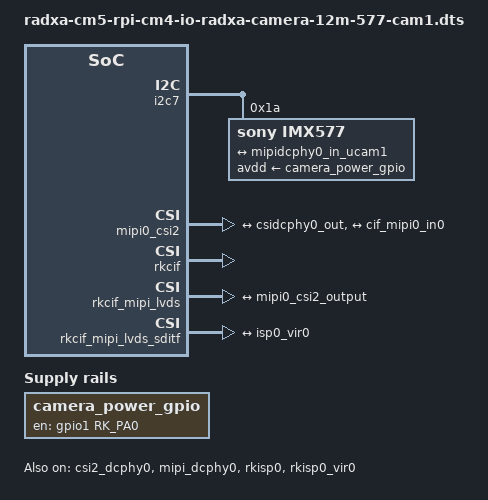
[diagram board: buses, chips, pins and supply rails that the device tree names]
/dts-v1/;
/plugin/;

#include <dt-bindings/power/rk3588-power.h>
#include <dt-bindings/gpio/gpio.h>
#include <dt-bindings/pinctrl/rockchip.h>

/ {
	metadata {
		title = "Enable Radxa Camera 12M 577 on CAM1";
		compatible = "radxa,cm5-rpi-cm4-io";
		category = "camera";
		exclusive = "GPIO1_A0", "csi2_dcphy0", "i2c7";
		description = "Enable Radxa Camera 12M 577 on CAM1.";
	};
};

&{/} {
	camera_power_gpio: camera-power-gpio {
		compatible = "regulator-fixed";
		regulator-name = "camera_power_gpio";
		startup-delay-us = <250000>;
		off-on-delay-us = <20000>;
		enable-active-high;
		gpio = <&gpio1 RK_PA0 GPIO_ACTIVE_HIGH>;
		pinctrl-names = "default";
		pinctrl-0 = <&cam_power_gpio>;
	};
};

&i2c7 {
	status = "okay";
	pinctrl-0 = <&i2c7m2_xfer>;
	#address-cells = <1>;
	#size-cells = <0>;

	imx577: imx577@1a {
		status = "okay";
		compatible = "sony,imx577";
		reg = <0x1a>;
		power-domains = <&power RK3588_PD_VI>;
		avdd-supply = <&camera_power_gpio>;
		rockchip,camera-module-index = <1>;
		rockchip,camera-module-facing = "back";
		rockchip,camera-module-name = "RADXA-CAMERA-12M";
		rockchip,camera-module-lens-name = "default";
		port {
			imx577_out1: endpoint {
				remote-endpoint = <&mipidcphy0_in_ucam1>;
				data-lanes = <1 2 3 4>;
			};
		};
	};
};

&csi2_dcphy0 {
	status = "okay";

	ports {
		#address-cells = <1>;
		#size-cells = <0>;

		port@0 {
			reg = <0>;
			#address-cells = <1>;
			#size-cells = <0>;

			mipidcphy0_in_ucam1: endpoint@1 {
				reg = <1>;
				remote-endpoint = <&imx577_out1>;
				data-lanes = <1 2 3 4>;
			};
		};

		port@1 {
			reg = <1>;
			#address-cells = <1>;
			#size-cells = <0>;

			csidcphy0_out: endpoint@0 {
				reg = <0>;
				remote-endpoint = <&mipi0_csi2_input>;
			};
		};
	};
};

&mipi_dcphy0 {
	status = "okay";
};

&mipi0_csi2 {
	status = "okay";

	ports {
		#address-cells = <1>;
		#size-cells = <0>;

		port@0 {
			reg = <0>;
			#address-cells = <1>;
			#size-cells = <0>;

			mipi0_csi2_input: endpoint@1 {
				reg = <1>;
				remote-endpoint = <&csidcphy0_out>;
			};
		};

		port@1 {
			reg = <1>;
			#address-cells = <1>;
			#size-cells = <0>;

			mipi0_csi2_output: endpoint@0 {
				reg = <0>;
				remote-endpoint = <&cif_mipi0_in0>;
			};
		};
	};
};

&rkcif {
	status = "okay";
};

&rkcif_mipi_lvds {
	status = "okay";

	port {
		cif_mipi0_in0: endpoint {
			remote-endpoint = <&mipi0_csi2_output>;
		};
	};
};

&rkcif_mipi_lvds_sditf {
	status = "okay";

	port {
		mipi_lvds_sditf: endpoint {
			remote-endpoint = <&isp0_vir0>;
		};
	};
};

&rkcif_mmu {
	status = "okay";
};

&isp0_mmu {
	status = "okay";
};

&rkisp0 {
	status = "okay";
};

&rkisp0_vir0 {
	status = "okay";

	port {
		#address-cells = <1>;
		#size-cells = <0>;

		isp0_vir0: endpoint@0 {
			reg = <0>;
			remote-endpoint = <&mipi_lvds_sditf>;
		};
	};
};

&pinctrl {
	camera {
		cam_power_gpio: cam-power-gpio {
			rockchip,pins = <1 RK_PA0 RK_FUNC_GPIO &pcfg_pull_up>;
		};
	};
};
